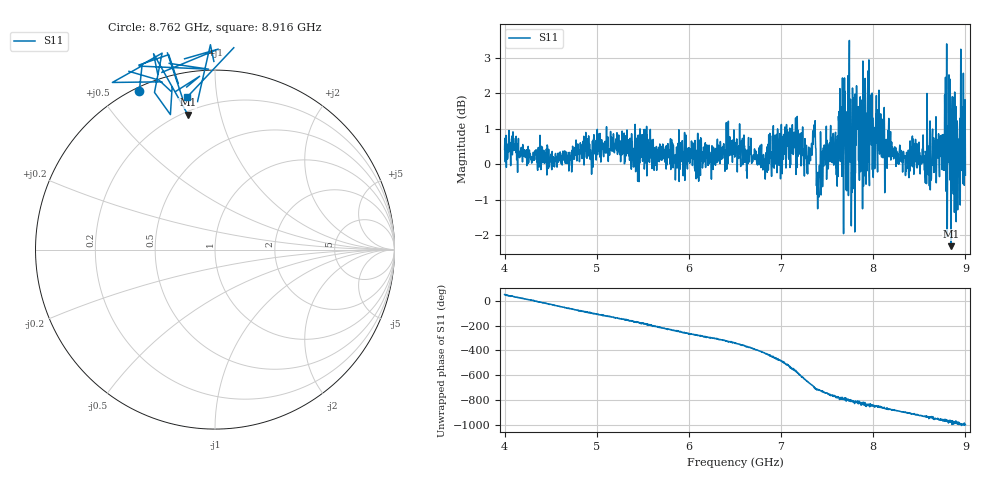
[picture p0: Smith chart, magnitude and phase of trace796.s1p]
! Created with skrf 1.8.0 (http://scikit-rf.org).
# Hz S RI R 50.0
!freq ReS11 ImS11
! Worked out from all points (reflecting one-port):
!   1601 points, 4 GHz to 9 GHz, reference 50 ohm
!   lowest |S11| = -2.3 dB at 8.844 GHz (marker M1), VSWR 7.58, Z = 10.9 + j39.8 ohm
!   phase of S11 starts at 52 deg and turns -1053 deg over the sweep
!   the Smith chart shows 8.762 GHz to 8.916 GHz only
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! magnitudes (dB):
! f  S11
! 4 GHz  0.4
! 4.625 GHz  0.0
! 5.25 GHz  0.3
! 5.875 GHz  0.1
! 6.5 GHz  0.5
! 6.819 GHz  -0.1
! 7.125 GHz  0.7
! 7.269 GHz  0.3
! 7.353 GHz  0.8
! 7.409 GHz  -0.9
! 7.481 GHz  0.1
! 7.594 GHz  -0.1
! 7.647 GHz  0.8
! 7.75 GHz  0.1
! 7.781 GHz  -0.6
! 7.828 GHz  1.6
! 7.909 GHz  -0.3
! 7.962 GHz  2.0
! 7.981 GHz  0.5
! 8.097 GHz  0.7
! 8.375 GHz  0.1
! 8.616 GHz  1.2
! 8.772 GHz  -0.2
! 8.781 GHz  0.3
! 8.844 GHz  -2.3
! 8.919 GHz  -0.4
! 8.972 GHz  0.8
! 9 GHz  -0.3
